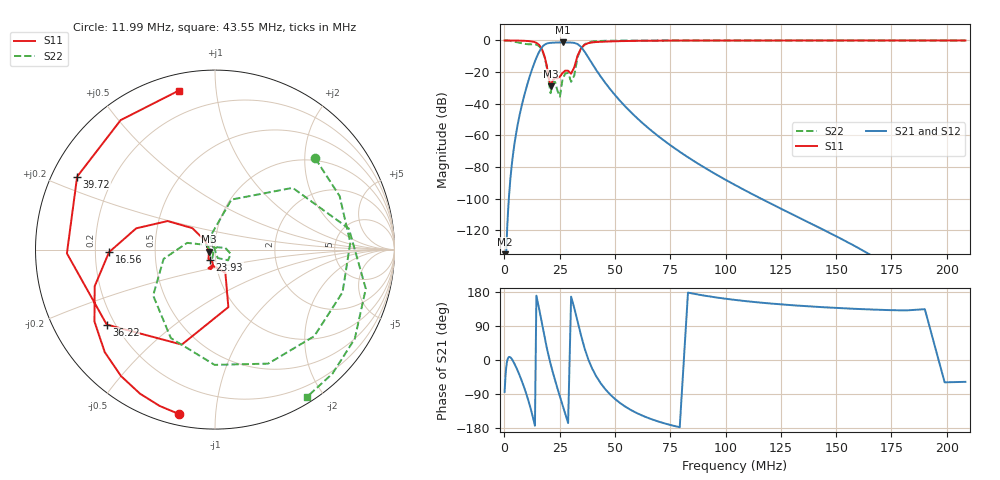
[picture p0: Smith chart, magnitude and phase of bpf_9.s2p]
! NeoRadio BPF 9: 22-30 MHz, selected in the bank
! generated_by 859cd57
# HZ S RI R 50
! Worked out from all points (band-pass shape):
!   182 points, 50 kHz to 208.4 MHz, reference 50 ohm
!   highest |S21| = -1.25 dB at 26.24 MHz (marker M1); lowest = -198.1 dB at 82.98 kHz (marker M2)
!   |S21| within 3 dB of the highest: 17 MHz to 34.7 MHz (17.7 MHz wide, 68.5 % of centre)
!   lowest |S11| = -29.1 dB at 20.84 MHz (marker M3), VSWR 1.07, Z = 46.7 - j1.02 ohm
!   |S11| at or under -10 dB: 18.1 MHz to 32.96 MHz (14.87 MHz wide, 58.2 % of centre)
!   |S22| runs from -35.5 to 0.0 dB; largest |S21 - S12| = 0
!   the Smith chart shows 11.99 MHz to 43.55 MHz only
!   S11 on the Smith chart (normalised r, x): 11.99 MHz: 0.05, -0.80; 16.56 MHz: 0.26, -0.01; 23.93 MHz: 0.94, -0.11; 36.22 MHz: 0.17, -0.30; 39.72 MHz: 0.07, +0.25; 43.55 MHz: 0.08, +0.79
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50000  1 -0.0064  2.71e-12 -2.68e-11  2.71e-12 -2.68e-11  0.9997 -0.0229
82979.35  0.9999 -0.0106  2.06e-11 -1.22e-10  2.06e-11 -1.22e-10  0.9992 -0.0379
208434.7  0.9996 -0.0267  8.25e-10 -1.89e-09  8.25e-10 -1.89e-09  0.9952 -0.0951
829793.5  0.9942 -0.106  2.27e-07 -6.87e-08  2.27e-07 -6.87e-08  0.9254 -0.3682
3303467  0.908 -0.4125  0.000119 5.51e-06  0.000119 5.51e-06  0.0918 -0.9412
7227199  0.5593 -0.8114  0.00407 -0.00426  0.00407 -0.00426  -0.8286 -0.0123
9976312  0.1612 -0.9533  -0.000852 -0.0339  -0.000852 -0.0339  -0.2158 0.7363
1.199416e7  -0.2018 -0.9157  -0.0653 -0.0731  -0.0653 -0.0731  0.5588 0.5082
1.315134e7  -0.4181 -0.8025  -0.1555 -0.0622  -0.1555 -0.0622  0.7539 0.0391
1.655656e7  -0.5905 -0.0146  -0.1752 0.5308  -0.1752 0.5308  -0.2461 -0.493
1.81539e7  -0.2639 0.1591  0.3712 0.6376  0.3712 0.6376  -0.2861 -0.0515
2.084347e7  -0.0335 -0.0109  0.8277 -0.1507  0.8277 -0.1507  -0.00928 -0.0195
2.39315e7  -0.0272 -0.0576  0.2269 -0.8322  0.2269 -0.8322  -0.0236 -0.0107
2.624037e7  -0.0104 -0.0926  -0.4166 -0.759  -0.4166 -0.759  0.0574 0.00965
3.012798e7  -0.0156 -0.0876  -0.836 0.1897  -0.836 0.1897  0.015 -0.047
3.303467e7  0.0744 -0.3205  -0.1718 0.7532  -0.1718 0.7532  0.0915 0.2787
3.62218e7  -0.6033 -0.4178  0.3811 0.2255  0.3811 0.2255  0.7459 0.117
3.971641e7  -0.768 0.4067  0.1657 -0.0719  0.1657 -0.0719  0.779 -0.4964
4.354818e7  -0.2018 0.8859  0.0339 -0.063  0.0339 -0.063  0.5138 -0.8193
5.235643e7  0.8103 0.5006  -0.00493 -0.0111  -0.00493 -0.0111  0.0192 -0.9888
9.098504e7  0.2987 -0.9486  -8.97e-05 1.69e-05  -8.97e-05 1.69e-05  -0.6847 -0.7258
2.084347e8  -0.7006 -0.7116  3.44e-09 -5.42e-09  3.44e-09 -5.42e-09  -0.9403 -0.3352
